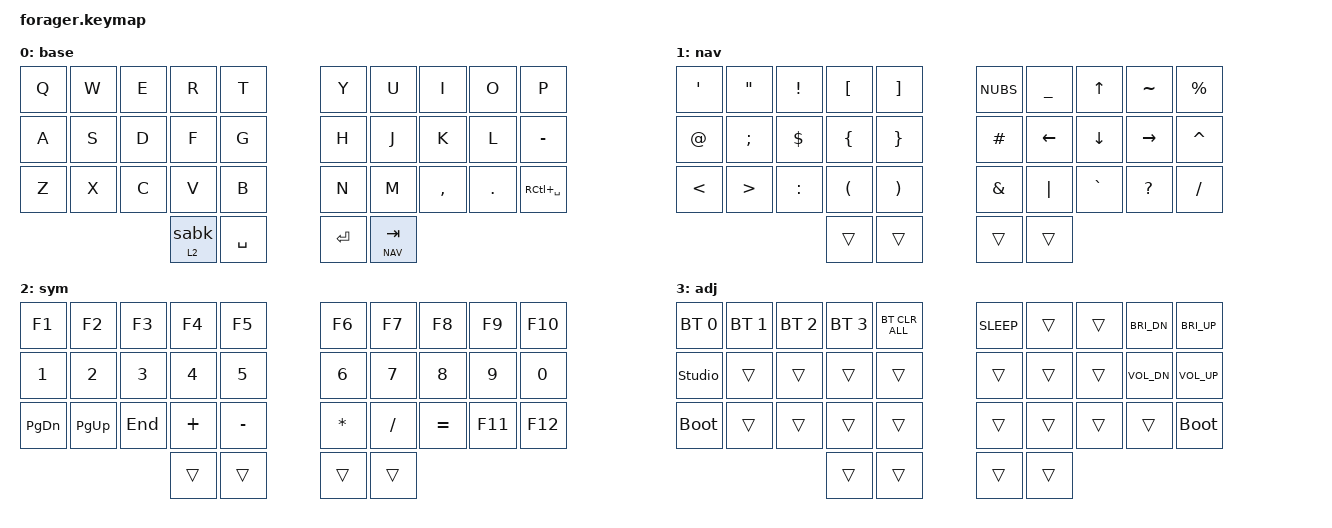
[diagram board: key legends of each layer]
#include <behaviors.dtsi>
#include <dt-bindings/zmk/keys.h>
#include <dt-bindings/zmk/bt.h>
#include <dt-bindings/zmk/outputs.h>

#define BASE 0
#define NAV  1
#define SYM  2
#define ADJ  3

#define AS(keycode) &as LS(keycode) keycode     // Autoshift Macro
#define MEH LS(LC(LALT))

/ {
    behaviors {
        as: auto_shift {
            compatible = "zmk,behavior-hold-tap";
            #binding-cells = <2>;
            tapping-term-ms = <250>;
            require-prior-idle-ms = <100>;
            flavor = "tap-preferred";
            bindings = <&kp>, <&kp>;
        };
        ht: hold_tap {
            compatible = "zmk,behavior-hold-tap";
            #binding-cells = <2>;
            tapping-term-ms = <200>;
            flavor = "balanced";
            bindings = <&kp>, <&kp>;
        };
        sabk: shift_to_alt_backspace {
            compatible = "zmk,behavior-mod-morph";
            #binding-cells = <0>;
            bindings = <&kp BSPC>, <&kp LA(BSPC)>;
            mods = <(MOD_LSFT|MOD_RSFT)>;
        };
        smart_shift: smart_shift {
            compatible = "zmk,behavior-mod-morph";
            #binding-cells = <0>;
            bindings = <&sk LSHFT>, <&caps_word>;
            mods = <(MOD_LSFT|MOD_RSFT)>;
        };
        sym_bspc: left_thumb_hold_tap {
            compatible = "zmk,behavior-hold-tap";
            #binding-cells = <2>;
            flavor = "tap-preferred";
            tapping-term-ms = <150>;
            quick-tap-ms = <200>;
            bindings = <&mo>, <&sabk>;
        };
        lhm: left_homerow_mods {
            compatible = "zmk,behavior-hold-tap";
            #binding-cells = <2>;
            flavor = "balanced";
            tapping-term-ms = <150>;
            quick-tap-ms = <175>;
            require-prior-idle-ms = <150>;
            bindings = <&kp>, <&kp>;
            hold-trigger-key-positions = <5 6 7 8 9 15 16 17 18 19 25 26 27 28 29 30 31 32 33>;
        };
        rhm: right_homerow_mods {
            compatible = "zmk,behavior-hold-tap";
            #binding-cells = <2>;
            flavor = "balanced";
            tapping-term-ms = <150>;
            quick-tap-ms = <175>;
            require-prior-idle-ms = <150>;
            bindings = <&kp>, <&kp>;
            hold-trigger-key-positions = <0 1 2 3 4 10 11 12 13 14 20 21 22 23 24 30 31 32 33>;
        };
    };

    conditional_layers {
        compatible = "zmk,conditional-layers";
        tri_layer {
            if-layers = <1 2>;
            then-layer = <3>;
        };
    };

    keymap {
        compatible = "zmk,keymap";

        base {
            bindings = <
            &kp Q           &kp W           &kp E           &kp R           &kp T                                           &kp Y           &kp U           &kp I           &kp O           &kp P
            &kp A           &kp S           &kp D           &kp F           &kp G                                           &kp H           &kp J           &kp K           &kp L           &kp MINUS
            &kp Z           &kp X           &kp C           &kp V           &kp B                                           &kp N           &kp M           &kp COMMA       &kp DOT         &kp RC(SPACE)
                                                                            &sym_bspc 2 0   &kp SPACE       &kp ENTER       &lt NAV TAB
            >;
        };

        nav {
            bindings = <
            &kp SQT         &kp DQT         &kp EXCL        &kp LBKT        &kp RBKT                                        &kp NUBS        &kp UNDER       &kp UP          &kp TILDE       &kp PRCNT
            &kp AT          &kp SEMI        &kp DLLR        &kp LBRC        &kp RBRC                                        &kp HASH        &kp LEFT        &kp DOWN        &kp RIGHT       &kp CARET
            &kp LT          &kp GT          &kp COLON       &kp LPAR        &kp RPAR                                        &kp AMPS        &kp PIPE        &kp GRAVE       &kp QMARK       &kp FSLH
                                                                            &trans          &trans          &trans          &trans
            >;
        };

        sym {
            bindings = <
            &kp F1          &kp F2          &kp F3          &kp F4          &kp F5                                          &kp F6          &kp F7          &kp F8          &kp F9          &kp F10
            &kp N1          &kp N2          &kp N3          &kp N4          &kp N5                                          &kp N6          &kp N7          &kp N8          &kp N9          &kp N0 
            &kp PG_DN       &kp PG_UP       &kp END         &kp PLUS        &kp MINUS                                       &kp STAR        &kp FSLH        &kp EQUAL       &kp F11         &kp F12
                                                                            &trans          &trans          &trans          &trans
            >;
        };

        adj {
            bindings = <
            &bt BT_SEL 0    &bt BT_SEL 1    &bt BT_SEL 2    &bt BT_SEL 3    &bt BT_CLR_ALL                                  &kp C_SLEEP     &trans          &trans          &kp C_BRI_DN    &kp C_BRI_UP
            &studio_unlock  &trans          &trans          &trans          &trans                                          &trans          &trans          &trans          &kp C_VOL_DN    &kp C_VOL_UP
            &bootloader     &trans          &trans          &trans          &trans                                          &trans          &trans          &trans          &trans          &bootloader
                                                                            &trans          &trans          &trans          &trans
            >;
        };
    };
};

&lt {
    // require-prior-idle-ms = <100>;
    tapping-term-ms = <150>;
    quick-tap-ms = <200>;
};

&mt {
    quick-tap-ms = <200>;
};

&sk {
    release-after-ms = <500>;
    quick-release;
};

/ {
    combos {
        compatible = "zmk,combos";
        combo_shift {
            timeout-ms = <50>;
            key-positions = <31 32>;
            bindings = <&kp LSHFT>;
        };
        combo_esc {
            timeout-ms = <50>;
            key-positions = <0 1>;
            bindings = <&kp ESC>;
        };
        combo_del {
            timeout-ms = <50>;
            key-positions = <8 9>;
            bindings = <&kp DEL>;
        };
        combo_lctrl {
            timeout-ms = <50>;
            key-positions = <10 11>;
            bindings = <&kp LCTRL>;
        };
        combo_lgui {
            timeout-ms = <50>;
            key-positions = <11 12>;
            bindings = <&kp LGUI>;
        };
        combo_lalt {
            timeout-ms = <50>;
            key-positions = <12 13>;
            bindings = <&kp LALT>;
        };
        combo_lshft {
            timeout-ms = <50>;
            key-positions = <13 14>;
            bindings = <&kp LSHFT>;
        };
        combo_rctrl {
            timeout-ms = <50>;
            key-positions = <18 19>;
            bindings = <&kp RCTRL>;
        };
        combo_rgui {
            timeout-ms = <50>;
            key-positions = <17 18>;
            bindings = <&kp RGUI>;
        };
        combo_ralt {
            timeout-ms = <50>;
            key-positions = <16 17>;
            bindings = <&kp RALT>;
        };
        combo_rshft {
            timeout-ms = <50>;
            key-positions = <15 16>;
            bindings = <&kp RSHFT>;
        };
    };
};
